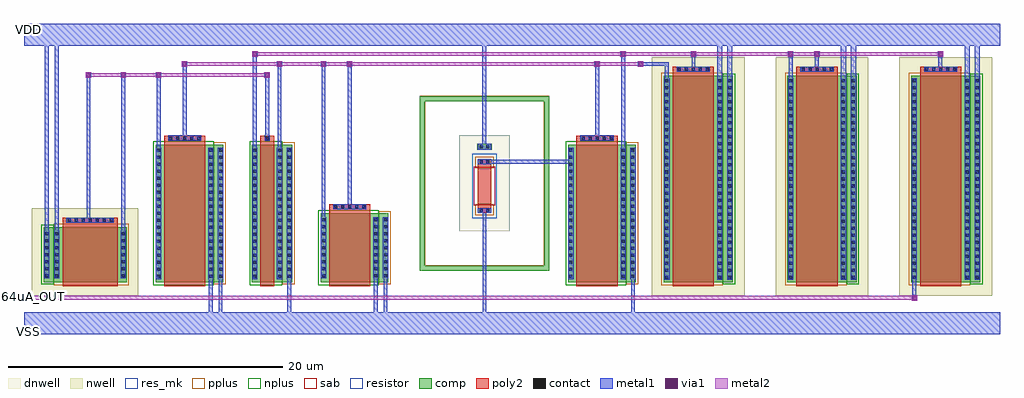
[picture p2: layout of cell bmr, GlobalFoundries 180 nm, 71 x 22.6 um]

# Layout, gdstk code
from math import pi, radians
import gdstk
lib = gdstk.Library(unit=1e-6, precision=1e-09)
def R(c, l, rs):  # rectangles x0, y0, x1, y1
    for r in rs: c.add(gdstk.rectangle(r[:2], r[2:], *l))
def A(c, l, x, y, w, h, nx, ny, dx, dy):  # array of equal rectangles
    R(c, l, [(x+i*dx, y+j*dy, x+i*dx+w, y+j*dy+h) for i in range(nx) for j in range(ny)])
def P(c, l, *ps):  # polygons
    for p in ps: c.add(gdstk.Polygon(p, *l))
dnwell = (12, 0)
nwell = (21, 0)
comp = (22, 0)
poly2 = (30, 0)
pplus = (31, 0)
nplus = (32, 0)
contact = (33, 0)
metal1 = (34, 0)
via1 = (35, 0)
metal2 = (36, 0)
sab = (49, 0)
resistor = (62, 0)
res_mk = (110, 5)

pfet_14 = lib.new_cell('pfet$14')
R(pfet_14, nwell, [(-1.32,-0.99,5.43,16.37)])
R(pfet_14, comp, [(-0.46,0,4.57,15)])
R(pfet_14, poly2, [(0.19,-0.3,3.19,15.68)])
R(pfet_14, pplus, [(-0.63,-0.24,3.84,15.24)])
R(pfet_14, nplus, [(3.84,-0.17,4.74,15.17)])
A(pfet_14, contact, -0.34, 0.25, 0.22, 0.22, 1, 29, 0, 0.51)
A(pfet_14, contact, 3.5, 0.25, 0.22, 0.22, 1, 29, 0, 0.51)
A(pfet_14, contact, 4.23, 0.25, 0.22, 0.22, 1, 29, 0, 0.51)
A(pfet_14, contact, 0.56, 15.38, 0.22, 0.22, 5, 1, 0.51, 0)
R(pfet_14, metal1, [(-0.42,0.17,-0.04,14.83), (3.42,0.17,3.8,14.83), (4.15,0.17,4.53,14.83), (0.48,15.3,2.9,15.68)])

nfet_11 = lib.new_cell('nfet$11')
R(nfet_11, comp, [(-0.42,0,2.51,10)])
R(nfet_11, poly2, [(0.19,-0.3,1.19,10.66)])
R(nfet_11, pplus, [(1.8,-0.17,2.68,10.17)])
R(nfet_11, nplus, [(-0.59,-0.24,1.8,10.24)])
A(nfet_11, contact, -0.32, 0.3, 0.22, 0.22, 1, 19, 0, 0.51)
A(nfet_11, contact, 1.48, 0.3, 0.22, 0.22, 1, 19, 0, 0.51)
A(nfet_11, contact, 2.19, 0.3, 0.22, 0.22, 1, 19, 0, 0.51)
R(nfet_11, contact, [(0.58,10.37,0.8,10.59)])
R(nfet_11, metal1, [(-0.4,0.22,-0.02,9.78), (1.4,0.22,1.78,9.78), (2.11,0.22,2.49,9.78), (0.5,10.29,0.88,10.67)])

pfet_15 = lib.new_cell('pfet$15')
R(pfet_15, nwell, [(-1.32,-1.37,6.43,4.99)])
R(pfet_15, comp, [(-0.46,0,5.57,4)])
R(pfet_15, poly2, [(0.19,-0.68,4.19,4.3)])
R(pfet_15, pplus, [(-0.63,-0.24,4.84,4.24)])
R(pfet_15, nplus, [(4.84,-0.17,5.74,4.17)])
A(pfet_15, contact, 0.55, -0.6, 0.22, 0.22, 7, 1, 0.51, 0)
A(pfet_15, contact, -0.34, 0.36, 0.22, 0.22, 1, 7, 0, 0.51)
A(pfet_15, contact, 4.5, 0.36, 0.22, 0.22, 1, 7, 0, 0.51)
A(pfet_15, contact, 5.23, 0.36, 0.22, 0.22, 1, 7, 0, 0.51)
R(pfet_15, metal1, [(0.47,-0.68,3.91,-0.3), (-0.42,0.28,-0.04,3.72), (4.42,0.28,4.8,3.72), (5.15,0.28,5.53,3.72)])

nfet_12 = lib.new_cell('nfet$12')
R(nfet_12, comp, [(-0.42,0,4.51,10)])
R(nfet_12, poly2, [(0.19,-0.3,3.19,10.66)])
R(nfet_12, pplus, [(3.8,-0.17,4.68,10.17)])
R(nfet_12, nplus, [(-0.59,-0.24,3.8,10.24)])
A(nfet_12, contact, -0.32, 0.3, 0.22, 0.22, 1, 19, 0, 0.51)
A(nfet_12, contact, 3.48, 0.3, 0.22, 0.22, 1, 19, 0, 0.51)
A(nfet_12, contact, 4.19, 0.3, 0.22, 0.22, 1, 19, 0, 0.51)
A(nfet_12, contact, 0.56, 10.37, 0.22, 0.22, 5, 1, 0.51, 0)
R(nfet_12, metal1, [(-0.4,0.22,-0.02,9.78), (3.4,0.22,3.78,9.78), (4.11,0.22,4.49,9.78), (0.48,10.29,2.9,10.67)])

nfet_13 = lib.new_cell('nfet$13')
R(nfet_13, comp, [(-0.42,0,4.51,5)])
R(nfet_13, poly2, [(0.19,-0.3,3.19,5.66)])
R(nfet_13, pplus, [(3.8,-0.17,4.68,5.17)])
R(nfet_13, nplus, [(-0.59,-0.24,3.8,5.24)])
A(nfet_13, contact, -0.32, 0.35, 0.22, 0.22, 1, 9, 0, 0.51)
A(nfet_13, contact, 3.48, 0.35, 0.22, 0.22, 1, 9, 0, 0.51)
A(nfet_13, contact, 4.19, 0.35, 0.22, 0.22, 1, 9, 0, 0.51)
A(nfet_13, contact, 0.56, 5.37, 0.22, 0.22, 5, 1, 0.51, 0)
R(nfet_13, metal1, [(-0.4,0.27,-0.02,4.73), (3.4,0.27,3.78,4.73), (4.11,0.27,4.49,4.73), (0.48,5.29,2.9,5.67)])

ppolyf_u_high_rs_resisto = lib.new_cell('ppolyf_u_high_Rs_resistor')
R(ppolyf_u_high_rs_resisto, dnwell, [(-2.38,-1.34,4.59,2.34)])
R(ppolyf_u_high_rs_resisto, comp, [(-1.76,0,-1.34,1)])
P(ppolyf_u_high_rs_resisto, comp, [(-5.24,-4.2),(-5.24,4.84),(-4.88,4.84),(-4.88,-3.84),(7.09,-3.84),(7.09,4.84),(-5.24,4.84),(-5.24,5.2),(7.45,5.2),(7.45,-4.2)])
R(ppolyf_u_high_rs_resisto, poly2, [(-0.64,0,3.25,1)])
R(ppolyf_u_high_rs_resisto, pplus, [(-0.82,-0.18,0,1.18), (2.61,-0.18,3.43,1.18)])
P(ppolyf_u_high_rs_resisto, pplus, [(-5.26,-4.22),(-5.26,4.82),(-4.86,4.82),(-4.86,-3.82),(7.07,-3.82),(7.07,4.82),(-5.26,4.82),(-5.26,5.22),(7.47,5.22),(7.47,-4.22)])
R(ppolyf_u_high_rs_resisto, nplus, [(-1.78,-0.02,-1.32,1.02)])
R(ppolyf_u_high_rs_resisto, contact, [(-1.66,0.155,-1.44,0.375), (-0.57,0.155,-0.35,0.375), (2.96,0.155,3.18,0.375), (-1.66,0.625,-1.44,0.845), (-0.57,0.625,-0.35,0.845), (2.96,0.625,3.18,0.845)])
R(ppolyf_u_high_rs_resisto, metal1, [(-1.76,0,-1.34,1), (-0.63,0.01,-0.29,0.99), (2.9,0.01,3.24,0.99)])
R(ppolyf_u_high_rs_resisto, sab, [(-0.1,-0.28,2.71,1.28)])
R(ppolyf_u_high_rs_resisto, resistor, [(-1.04,-0.4,3.65,1.4)])
R(ppolyf_u_high_rs_resisto, res_mk, [(0,0,2.61,1)])

via_dev = lib.new_cell('via_dev')
R(via_dev, metal1, [(0,0,0.4,0.4)])
R(via_dev, via1, [(0.07,0.07,0.33,0.33)])
R(via_dev, metal2, [(0,0,0.4,0.4)])

bmr = lib.new_cell('bmr')
bmr.add(gdstk.FlexPath([(69.34,17.64),(69.34,21)], 0.38, ends="flush", simple_path=True, layer=34, datatype=0))  # metal1
bmr.add(gdstk.FlexPath([(0,0),(71,0)], 1.6, ends="flush", simple_path=True, layer=34, datatype=0))  # metal1
bmr.add(gdstk.FlexPath([(68.61,17.64),(68.61,21)], 0.38, ends="flush", simple_path=True, layer=34, datatype=0))  # metal1
bmr.add(gdstk.FlexPath([(0,21),(71,21)], 1.6, ends="flush", simple_path=True, layer=34, datatype=0))  # metal1
bmr.add(gdstk.FlexPath([(59.61,17.64),(59.61,21)], 0.38, ends="flush", simple_path=True, layer=34, datatype=0))  # metal1
bmr.add(gdstk.FlexPath([(60.34,17.64),(60.34,21)], 0.38, ends="flush", simple_path=True, layer=34, datatype=0))  # metal1
bmr.add(gdstk.FlexPath([(51.34,17.64),(51.34,21)], 0.38, ends="flush", simple_path=True, layer=34, datatype=0))  # metal1
bmr.add(gdstk.FlexPath([(50.61,17.64),(50.61,21)], 0.38, ends="flush", simple_path=True, layer=34, datatype=0))  # metal1
bmr.add(gdstk.FlexPath([(66.66,19.59),(66.66,18.48)], 0.28, ends="flush", simple_path=True, layer=34, datatype=0))  # metal1
bmr.add(gdstk.FlexPath([(57.67,19.59),(57.67,18.49)], 0.28, ends="flush", simple_path=True, layer=34, datatype=0))  # metal1
bmr.add(gdstk.FlexPath([(48.7,19.59),(48.7,18.49)], 0.28, ends="flush", simple_path=True, layer=34, datatype=0))  # metal1
bmr.add(gdstk.FlexPath([(33.49,12.84),(33.49,21)], 0.28, ends="flush", simple_path=True, layer=34, datatype=0))  # metal1
bmr.add(gdstk.FlexPath([(55.77,19.59),(55.77,17.53)], 0.28, ends="flush", simple_path=True, layer=34, datatype=0))  # metal1
bmr.add(gdstk.FlexPath([(43.59,12.59),(43.59,19.59)], 0.28, ends="flush", simple_path=True, layer=34, datatype=0))  # metal1
bmr.add(gdstk.FlexPath([(44.3,3.41),(44.3,0)], 0.28, ends="flush", simple_path=True, layer=34, datatype=0))  # metal1
bmr.add(gdstk.FlexPath([(33.5,8.22),(33.5,0)], 0.28, ends="flush", simple_path=True, layer=34, datatype=0))  # metal1
bmr.add(gdstk.FlexPath([(33.5,11.75),(39.79,11.75)], 0.28, ends="flush", simple_path=True, layer=34, datatype=0))  # metal1
bmr.add(gdstk.FlexPath([(46.77,17.64),(46.77,18.87),(44.84,18.87)], 0.28, ends="flush", simple_path=True, layer=34, datatype=0))  # metal1
bmr.add(gdstk.FlexPath([(41.7,18.87),(41.7,13.48)], 0.28, ends="flush", simple_path=True, layer=34, datatype=0))  # metal1
bmr.add(gdstk.FlexPath([(23.69,18.87),(23.69,8.48)], 0.28, ends="flush", simple_path=True, layer=34, datatype=0))  # metal1
bmr.add(gdstk.FlexPath([(26.3,3.46),(26.3,0)], 0.28, ends="flush", simple_path=True, layer=34, datatype=0))  # metal1
bmr.add(gdstk.FlexPath([(25.59,3.46),(25.59,0)], 0.28, ends="flush", simple_path=True, layer=34, datatype=0))  # metal1
bmr.add(gdstk.FlexPath([(21.79,7.54),(21.79,18.87)], 0.28, ends="flush", simple_path=True, layer=34, datatype=0))  # metal1
bmr.add(gdstk.FlexPath([(19.3,3.41),(19.3,0)], 0.28, ends="flush", simple_path=True, layer=34, datatype=0))  # metal1
bmr.add(gdstk.FlexPath([(1.66,6.53),(1.66,21)], 0.28, ends="flush", simple_path=True, layer=34, datatype=0))  # metal1
bmr.add(gdstk.FlexPath([(2.39,6.53),(2.39,21)], 0.28, ends="flush", simple_path=True, layer=34, datatype=0))  # metal1
bmr.add(gdstk.FlexPath([(7.23,6.53),(7.23,18.07)], 0.28, ends="flush", simple_path=True, layer=34, datatype=0))  # metal1
bmr.add(gdstk.FlexPath([(14.3,3.41),(14.3,0)], 0.28, ends="flush", simple_path=True, layer=34, datatype=0))  # metal1
bmr.add(gdstk.FlexPath([(9.79,12.59),(9.79,18.07)], 0.28, ends="flush", simple_path=True, layer=34, datatype=0))  # metal1
bmr.add(gdstk.FlexPath([(17.69,13.48),(17.69,18.08)], 0.28, ends="flush", simple_path=True, layer=34, datatype=0))  # metal1
bmr.add(gdstk.FlexPath([(4.69,18.07),(4.69,7.49)], 0.28, ends="flush", simple_path=True, layer=34, datatype=0))  # metal1
bmr.add(gdstk.FlexPath([(13.59,3.41),(13.59,0)], 0.28, ends="flush", simple_path=True, layer=34, datatype=0))  # metal1
bmr.add(gdstk.FlexPath([(11.69,13.48),(11.69,18.88)], 0.28, ends="flush", simple_path=True, layer=34, datatype=0))  # metal1
bmr.add(gdstk.FlexPath([(16.79,12.59),(16.79,19.59)], 0.28, ends="flush", simple_path=True, layer=34, datatype=0))  # metal1
bmr.add(gdstk.FlexPath([(18.59,12.59),(18.59,18.87)], 0.28, ends="flush", simple_path=True, layer=34, datatype=0))  # metal1
bmr.add(gdstk.FlexPath([(64.77,3.36),(64.77,1.85)], 0.28, ends="flush", simple_path=True, layer=34, datatype=0))  # metal1
bmr.add(gdstk.FlexPath([(66.68,19.59),(16.79,19.59)], 0.28, ends="flush", simple_path=True, layer=36, datatype=0))  # metal2
bmr.add(gdstk.FlexPath([(44.84,18.87),(18.59,18.87)], 0.28, ends="flush", simple_path=True, layer=36, datatype=0))  # metal2
bmr.add(gdstk.FlexPath([(17.69,18.07),(4.69,18.07)], 0.28, ends="flush", simple_path=True, layer=36, datatype=0))  # metal2
bmr.add(gdstk.FlexPath([(64.78,1.85),(0.01,1.85)], 0.28, ends="flush", simple_path=True, layer=36, datatype=0))  # metal2
bmr.add(gdstk.FlexPath([(18.59,18.87),(11.69,18.87)], 0.28, ends="flush", simple_path=True, layer=36, datatype=0))  # metal2
bmr.add(gdstk.Reference(pfet_14, (56,3)))
bmr.add(gdstk.Reference(pfet_14, (47,3)))
bmr.add(gdstk.Reference(nfet_11, (17,3)))
bmr.add(gdstk.Reference(pfet_15, (7,7), rotation=pi))
bmr.add(gdstk.Reference(nfet_12, (10,3)))
bmr.add(gdstk.Reference(nfet_13, (22,3)))
bmr.add(gdstk.Reference(nfet_12, (40,3)))
bmr.add(gdstk.Reference(ppolyf_u_high_rs_resisto, (33,11.29), rotation=3*pi/2))
bmr.add(gdstk.Reference(pfet_14, (65,3)))
bmr.add(gdstk.Reference(via_dev, (66.46,19.39)))
bmr.add(gdstk.Reference(via_dev, (57.47,19.39)))
bmr.add(gdstk.Reference(via_dev, (48.5,19.39)))
bmr.add(gdstk.Reference(via_dev, (55.57,19.39)))
bmr.add(gdstk.Reference(via_dev, (43.39,19.39)))
bmr.add(gdstk.Reference(via_dev, (44.64,18.67)))
bmr.add(gdstk.Reference(via_dev, (41.5,18.67)))
bmr.add(gdstk.Reference(via_dev, (23.49,18.67)))
bmr.add(gdstk.Reference(via_dev, (21.59,18.67)))
bmr.add(gdstk.Reference(via_dev, (16.59,19.39)))
bmr.add(gdstk.Reference(via_dev, (18.39,18.67)))
bmr.add(gdstk.Reference(via_dev, (17.49,17.87)))
bmr.add(gdstk.Reference(via_dev, (4.49,17.87)))
bmr.add(gdstk.Reference(via_dev, (7.02,17.87)))
bmr.add(gdstk.Reference(via_dev, (9.58,17.87)))
bmr.add(gdstk.Reference(via_dev, (11.49,18.68)))
bmr.add(gdstk.Reference(via_dev, (64.58,1.65)))
bmr.add(gdstk.Label('VDD', (0.33,21.41), layer=34, texttype=10))
bmr.add(gdstk.Label('VSS', (0.327,-0.593), layer=34, texttype=10))
bmr.add(gdstk.Label('64uA_OUT', (0.16,1.93), layer=36, texttype=10))

lib.write_gds('bmr.gds')
